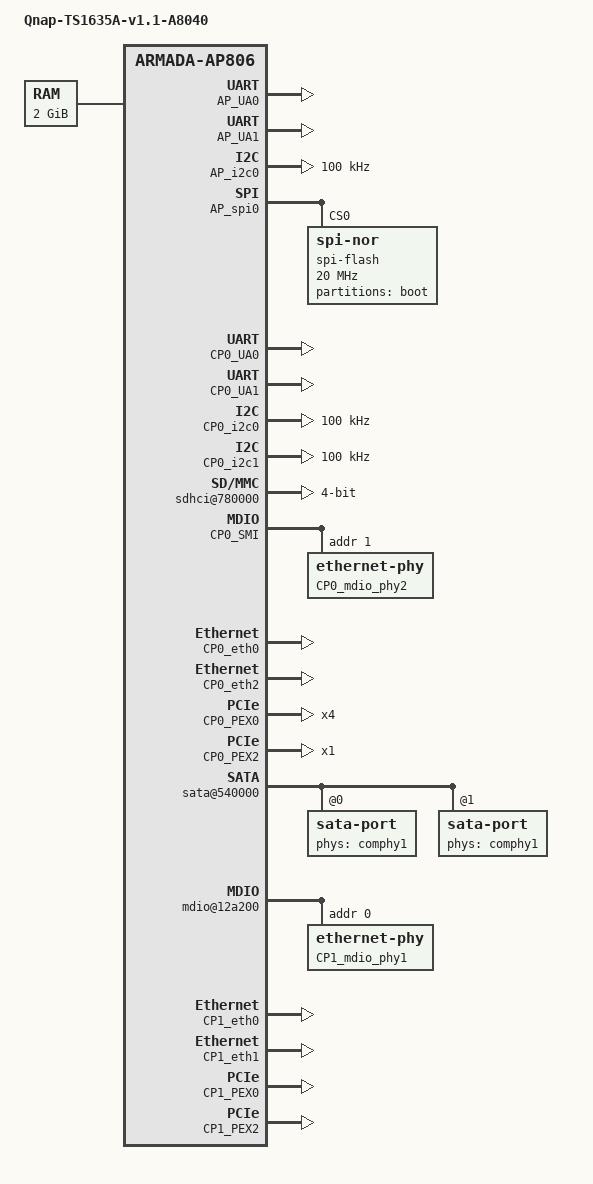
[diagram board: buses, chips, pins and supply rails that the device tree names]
/*
 * Copyright (C) 2016 Marvell Technology Group Ltd.
 *
 * This file is dual-licensed: you can use it either under the terms
 * of the GPLv2 or the X11 license, at your option. Note that this dual
 * licensing only applies to this file, and not this project as a
 * whole.
 *
 *  a) This library is free software; you can redistribute it and/or
 *     modify it under the terms of the GNU General Public License as
 *     published by the Free Software Foundation; either version 2 of the
 *     License, or (at your option) any later version.
 *
 *     This library is distributed in the hope that it will be useful,
 *     but WITHOUT ANY WARRANTY; without even the implied warranty of
 *     MERCHANTABILITY or FITNESS FOR A PARTICULAR PURPOSE.  See the
 *     GNU General Public License for more details.
 *
 * Or, alternatively,
 *
 *  b) Permission is hereby granted, free of charge, to any person
 *     obtaining a copy of this software and associated documentation
 *     files (the "Software"), to deal in the Software without
 *     restriction, including without limitation the rights to use,
 *     copy, modify, merge, publish, distribute, sublicense, and/or
 *     sell copies of the Software, and to permit persons to whom the
 *     Software is furnished to do so, subject to the following
 *     conditions:
 *
 *     The above copyright notice and this permission notice shall be
 *     included in all copies or substantial portions of the Software.
 *
 *     THE SOFTWARE IS PROVIDED "AS IS", WITHOUT WARRANTY OF ANY KIND,
 *     EXPRESS OR IMPLIED, INCLUDING BUT NOT LIMITED TO THE WARRANTIES
 *     OF MERCHANTABILITY, FITNESS FOR A PARTICULAR PURPOSE AND
 *     NONINFRINGEMENT. IN NO EVENT SHALL THE AUTHORS OR COPYRIGHT
 *     HOLDERS BE LIABLE FOR ANY CLAIM, DAMAGES OR OTHER LIABILITY,
 *     WHETHER IN AN ACTION OF CONTRACT, TORT OR OTHERWISE, ARISING
 *     FROM, OUT OF OR IN CONNECTION WITH THE SOFTWARE OR THE USE OR
 *     OTHER DEALINGS IN THE SOFTWARE.
 */

/*
 * Device Tree file for Qnap TS1635A Armada 8040 NAS board platform
 */

#include "armada-8040.dtsi"

/ {
	model = "Qnap-TS1635A-v1.1-A8040";
	compatible = "Qnap-TS1635A-8040", "marvell,armada8040",
			"marvell,armada-ap806-quad", "marvell,armada-ap806";

	memory@00000000 {
		device_type = "memory";
		reg = <0x0 0x0 0x0 0x80000000>;
	};

	ap806 {
		config-space {
			AP_UA0: serial@512000 {
				status = "okay";
			};
			AP_UA1: serial@512100 {
				status = "okay";
			};
                        AP_i2c0: i2c@511000 {
                                clock-frequency = <100000>;
                                pinctrl-names = "default";
                                pinctrl-0 = <&ap_i2c0_pins>;
                                status = "okay";
                        };
                        AP_spi0: spi@510600 {
                                status = "okay";
                                spi-flash@0 {
                                        #address-cells = <0x1>;
                                        #size-cells = <0x1>;
                                        compatible = "jedec,spi-nor";
                                        reg = <0x0>;
                                        spi-max-frequency = <20000000>;
                                        partition@0 {
                                                label = "boot";
                                                reg = <0x0 0x200000>;
                                        };
                                };
                        };
			/* make sure AP_XOR2 are all enabled
			 * ap_xor0: dma_xor@400000
                           ap_xor1: dma_xor@420000
                           ap_xor2: dma_xor@440000
                           ap_xor3: dma_xor@460000
			 */
		};
	};

	cpn-110-master {
		config-space {
/*
			pinctrl@440000 {
				xhci0_vbus_pins: xhci0-vbus-pins {
					marvell,pins = "mpp33";
					marvell,function = "gpio";
				};
			};
	                reg_usb3h0_vbus: usb3-vbus0 {
				compatible = "regulator-fixed";
				pinctrl-names = "default";
				pinctrl-0 = <&xhci0_vbus_pins>;
				regulator-name = "reg-usb3h0-vbus";
				regulator-min-microvolt = <5000000>;
				regulator-max-microvolt = <5000000>;
				enable-active-high;
				gpio = <&cpm_gpio1 15 GPIO_ACTIVE_HIGH>;
				status = "okay";
			};
*/
			comphy0: comphy {
				status = "okay";
			};
                        CP0_SATA: sata@540000 {
				status = "disabled";
			};
			CP0_UA0: serial@702000 {
                                status = "okay";
                        };
			CP0_UA1: serial@702100 {
                                status = "okay";
                        };
			CP0_i2c0: i2c@701000 {
				clock-frequency = <100000>;
				pinctrl-names = "default";
				pinctrl-0 = <&cpm_i2c0_pins>;
				status = "okay";
			};
			CP0_i2c1: i2c@701100 {
				clock-frequency = <100000>;
				pinctrl-names = "default";
				pinctrl-0 = <&cpm_i2c1_pins>;
				status = "okay";
			};
			sdhci@780000 {
				/*vqmmc-supply = <&vccq_sdio_reg>;*/
				bus-width = <4>;
				/*no-1-8-v;
				broken-cd;*/
				pinctrl-names = "default";
				pinctrl-0 = <&cpm_sdhci_pins>;
				status = "okay";
			};
               CP0_SMI: mdio@12a200 { /* regular mdio */
				#address-cells = <1>;
				#size-cells = <0>;
				CP0_mdio_phy2: ethernet-phy@2 {
					reg = <0x1>;
				};
			};

                        switch {
                                compatible = "marvell,mvmdio-uio";
                                status = "okay";
                                mii-bus = <&CP0_SMI>;
                        };

			mdio@15b000 { /* xmdio */
				#address-cells = <1>;
				#size-cells = <0>;
				/* no PHY connect, only SFP+ connector
				CP0_xmdio_phy0: ethernet-phy@0 {
                                        compatible = "ethernet-phy-ieee802.3-c45";
                                        reg = <0>;
				};*/
			};
			gop {
                                CP0_emac0: mac0 {
                                        phy-mode = "sfi"; /* SFI */
					phys = <&comphy0 4 COMPHY_SFI>;
					phy-names = "comphy";
                                };
                                CP0_emac2: mac2 {
                                        phy-mode = "none"; /* disabled */
                                };
                                CP0_emac3: mac3 {
                                        phy-mode = "rgmii"; /* rgmii-1 */
                                        phy = <&CP0_mdio_phy2>;
                                };
			};
			ppv22@000000 {
				l4_chksum_jumbo_port = <0>;
				pinctrl-names = "default";

                                CP0_eth0: eth0@010000 {
                                        status = "okay";
                                };
                                CP0_eth1: eth1@020000 {
                                        status = "disabled";
                                };
                                CP0_eth2: eth2@030000 {
                                        status = "okay";
                                };
			};

			eip197@800000 {
				status = "okay";
			};
			dma_xor@6a0000 {
				status = "disabled";
			};
			dma_xor@6c0000 {
				status = "disabled";
			};
		};
		CP0_PEX0: pcie@0x600000 {
			num-lanes = <4>;
			status = "okay";
		};
		CP0_PEX1: pcie@0x620000 {
			status = "disabled";
		};
		CP0_PEX2: pcie@0x640000 {
			num-lanes = <1>;
			status = "okay";
		};
	};

	cpn-110-slave {
		config-space {
			comphy1: comphy {
				status = "okay";
			};
			sata@540000 {
				status = "okay";

				sata-port@0 {
					phys = <&comphy1 2 COMPHY_SATA0>;
					phy-names = "comphy";
					status = "okay";
				};
				sata-port@1 {
					phys = <&comphy1 3 COMPHY_SATA1>;
					phy-names = "comphy";
					status = "okay";
				};
			};

			mdio@12a200 { /* regular mdio */
				#address-cells = <1>;
				#size-cells = <0>;
				CP1_mdio_phy1: ethernet-phy@1 {
					reg = <0x0>;
				};
			};
			mdio@15b000 { /* xmdio */
				#address-cells = <1>;
				#size-cells = <0>;
			};

			gop {
				CP1_emac0: mac0 {
					phy-mode = "sfi"; /* lane-4 - SFP+ con only */
					phys = <&comphy1 4 COMPHY_SFI>;
					phy-names = "comphy";
				};
				CP1_emac2: mac2 {
					phy-mode = "rgmii"; /* rgmii-1 mpp[13:12] [22:17] [27:30] */
					phy = <&CP1_mdio_phy1>;
				};
				CP1_emac3: mac3 {
					phy-mode = "none";
				};
			};
			ppv22@000000 {
				l4_chksum_jumbo_port = <0>;
				pinctrl-names = "default";
				pinctrl-0 = <&cps_ge1_rgmii_pins_1>;

				CP1_eth0: eth0@010000 {
					status = "okay";
				};
				CP1_eth1: eth1@020000 {
					status = "okay";
				};
				CP1_eth2: eth2@030000 {
					status = "disabled";
				};
			};
			eip197@800000 {
				status = "okay";
			};
			dma_xor@6a0000 {
				status = "disabled";
			};
			dma_xor@6c0000 {
				status = "disabled";
			};
		};
		CP1_PEX0: pcie@0x600000 {
			/*num-lanes = <2>;*/
			status = "okay";
		};
		CP1_PEX1: pcie@0x620000 {
			status = "disabled";
		};
		CP1_PEX2: pcie@0x640000 {
			status = "okay";
		};
	};
};

